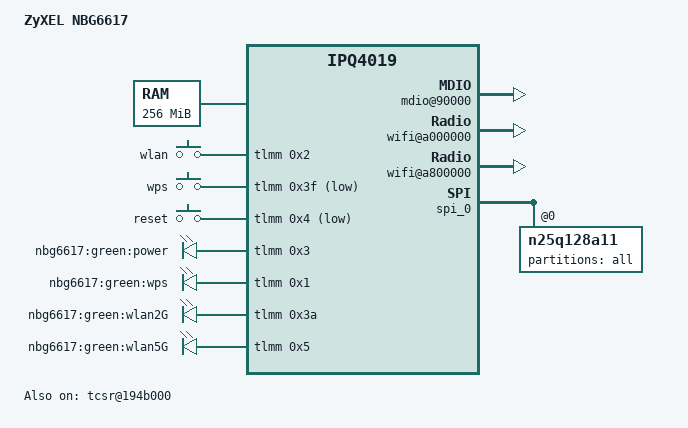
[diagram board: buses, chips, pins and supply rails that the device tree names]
/* Copyright (c) 2015, The Linux Foundation. All rights reserved.
 *
 * Permission to use, copy, modify, and/or distribute this software for any
 * purpose with or without fee is hereby granted, provided that the above
 * copyright notice and this permission notice appear in all copies.
 *
 * THE SOFTWARE IS PROVIDED "AS IS" AND THE AUTHOR DISCLAIMS ALL WARRANTIES
 * WITH REGARD TO THIS SOFTWARE INCLUDING ALL IMPLIED WARRANTIES OF
 * MERCHANTABILITY AND FITNESS. IN NO EVENT SHALL THE AUTHOR BE LIABLE FOR
 * ANY SPECIAL, DIRECT, INDIRECT, OR CONSEQUENTIAL DAMAGES OR ANY DAMAGES
 * WHATSOEVER RESULTING FROM LOSS OF USE, DATA OR PROFITS, WHETHER IN AN
 * ACTION OF CONTRACT, NEGLIGENCE OR OTHER TORTIOUS ACTION, ARISING OUT OF
 * OR IN CONNECTION WITH THE USE OR PERFORMANCE OF THIS SOFTWARE.
 *
 */

#include "qcom-ipq4019-ap.dk01.1.dtsi"
#include "qcom-ipq4019-bus.dtsi"
#include <dt-bindings/gpio/gpio.h>
#include <dt-bindings/input/input.h>
#include <dt-bindings/soc/qcom,tcsr.h>

/ {
	model = "ZyXEL NBG6617";
	compatible = "zyxel,nbg6617", "qcom,ipq4019";

	memory {
		device_type = "memory";
		reg = <0x80000000 0x10000000>;
	};

	aliases {
		led-boot = &power;
		led-failsafe = &power;
		led-running = &power;
		led-upgrade = &power;
	};

	reserved-memory {
		#address-cells = <0x1>;
		#size-cells = <0x1>;
		ranges;

		rsvd1@87000000 {
			reg = <0x87000000 0x0500000>;
			no-map;
		};

		wifi_dump@87500000 {
			reg = <0x87500000 0x600000>;
			no-map;
		};

		rsvd2@87B00000 {
			reg = <0x87b00000 0x500000>;
			no-map;
		};
	};

	soc {
		pinctrl@0x01000000 {
			led_pinmux {
				mux {
					pins = "gpio0", "gpio1", "gpio3", "gpio5", "gpio58";
					drive-strength = <0x8>;
					bias-pull-up;
					output-high;
				};
			};
		};

		tcsr@194b000 {
			/* select hostmode */
			compatible = "qcom,tcsr";
			reg = <0x194b000 0x100>;
			qcom,usb-hsphy-mode-select = <TCSR_USB_HSPHY_HOST_MODE>;
			status = "ok";
		};

		ess_tcsr@1953000 {
			compatible = "qcom,tcsr";
			reg = <0x1953000 0x1000>;
			qcom,ess-interface-select = <TCSR_ESS_PSGMII>;
		};


		tcsr@1949000 {
			compatible = "qcom,tcsr";
			reg = <0x1949000 0x100>;
			qcom,wifi_glb_cfg = <TCSR_WIFI_GLB_CFG>;
		};

		tcsr@1957000 {
			compatible = "qcom,tcsr";
			reg = <0x1957000 0x100>;
			qcom,wifi_noc_memtype_m0_m2 = <TCSR_WIFI_NOC_MEMTYPE_M0_M2>;
		};

		counter@4a1000 {
			compatible = "qcom,qca-gcnt";
			reg = <0x4a1000 0x4>;
		};

		mdio@90000 {
			status = "okay";
		};

		ess-switch@c000000 {
			status = "okay";
		};

		ess-psgmii@98000 {
			status = "okay";
		};

		edma@c080000 {
			status = "okay";
		};

		wifi@a000000 {
			status = "okay";
		};

		wifi@a800000 {
			status = "okay";
		};

		cryptobam: dma@8e04000 {
			status = "okay";
		};

		crypto@8e3a000 {
			status = "okay";
		};
	};

	gpio-keys {
		compatible = "gpio-keys";

		wlan {
			label = "wlan";
			gpios = <&tlmm 0x2 GPIO_ACTIVE_HIGH>;
			linux,code = <KEY_RFKILL>;
		};

		wps {
			label = "wps";
			gpios = <&tlmm 0x3f GPIO_ACTIVE_LOW>;
			linux,code = <KEY_WPS_BUTTON>;
		};

		reset {
			label = "reset";
			gpios = <&tlmm 0x4 GPIO_ACTIVE_LOW>;
			linux,code = <KEY_RESTART>;
		};
	};

	gpio-leds {
		compatible = "gpio-leds";

		power: power {
			label = "nbg6617:green:power";
			gpios = <&tlmm 0x3 GPIO_ACTIVE_HIGH>;
		};

		wps {
			label = "nbg6617:green:wps";
			gpios = <&tlmm 0x1 GPIO_ACTIVE_HIGH>;
		};

		wlan2G {
			label = "nbg6617:green:wlan2G";
			gpios = <&tlmm 0x3a GPIO_ACTIVE_HIGH>;
		};

		wlan5G {
			label = "nbg6617:green:wlan5G";
			gpios = <&tlmm 0x5 GPIO_ACTIVE_HIGH>;
		};
	};
};


&spi_0 { /* BLSP1 QUP1 */
	status = "ok";

	mx25l25635e@0 {
		status = "disabled";
	};

	n25q128a11@0 {
		status = "okay";

		partitions {
			compatible = "fixed-partitions";
			#address-cells = <1>;
			#size-cells = <1>;

			partition0@0 {
				label = "all";
				reg = <0x00000000 0x08000000>;
				read-only; /* for now */
			};
		};

	};
};
